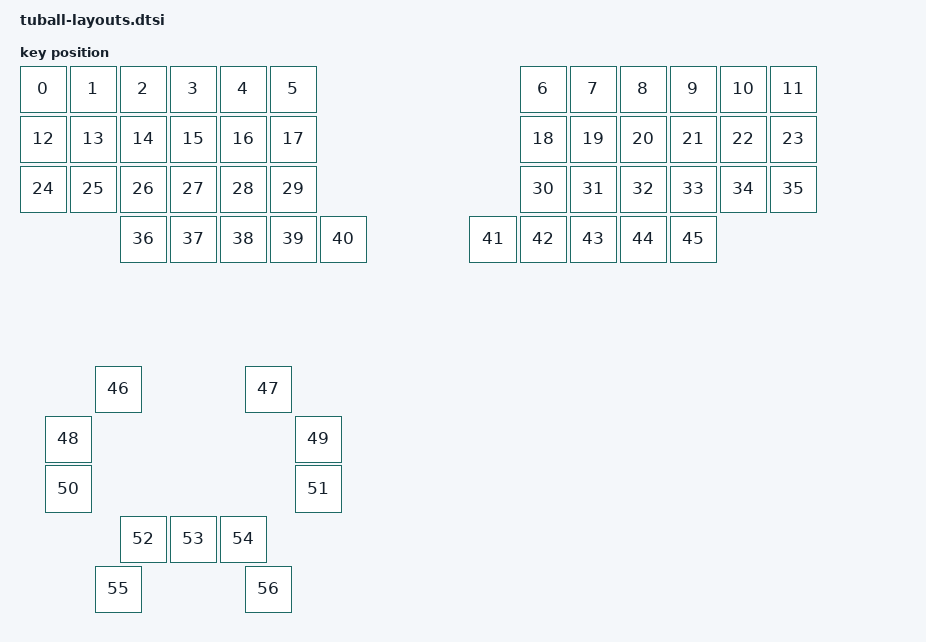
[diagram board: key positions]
#include <physical_layouts.dtsi>

/ {
    physical_layout0: physical_layout_0 {
        compatible = "zmk,physical-layout";
        transform = <&default_transform>;
        display-name = "Base";

        keys= <&key_physical_attrs 100 100    0    0       0     0     0>
            , <&key_physical_attrs 100 100  100    0       0     0     0>
            , <&key_physical_attrs 100 100  200    0       0     0     0>
            , <&key_physical_attrs 100 100  300    0       0     0     0>
            , <&key_physical_attrs 100 100  400    0       0     0     0>
            , <&key_physical_attrs 100 100  500    0       0     0     0>
            , <&key_physical_attrs 100 100 1000    0       0     0     0>
            , <&key_physical_attrs 100 100 1100    0       0     0     0>
            , <&key_physical_attrs 100 100 1200    0       0     0     0>
            , <&key_physical_attrs 100 100 1300    0       0     0     0>
            , <&key_physical_attrs 100 100 1400    0       0     0     0>
            , <&key_physical_attrs 100 100 1500    0       0     0     0>
            // ASDFG
            , <&key_physical_attrs 100 100    0  100       0     0     0>
            , <&key_physical_attrs 100 100  100  100       0     0     0>
            , <&key_physical_attrs 100 100  200  100       0     0     0>
            , <&key_physical_attrs 100 100  300  100       0     0     0>
            , <&key_physical_attrs 100 100  400  100       0     0     0>
            , <&key_physical_attrs 100 100  500  100       0     0     0>
            , <&key_physical_attrs 100 100 1000  100       0     0     0>
            , <&key_physical_attrs 100 100 1100  100       0     0     0>
            , <&key_physical_attrs 100 100 1200  100       0     0     0>
            , <&key_physical_attrs 100 100 1300  100       0     0     0>
            , <&key_physical_attrs 100 100 1400  100       0     0     0>
            , <&key_physical_attrs 100 100 1500  100       0     0     0>
	    // ZXCVB
            , <&key_physical_attrs 100 100    0  200       0     0     0>
            , <&key_physical_attrs 100 100  100  200       0     0     0>
            , <&key_physical_attrs 100 100  200  200       0     0     0>
            , <&key_physical_attrs 100 100  300  200       0     0     0>
            , <&key_physical_attrs 100 100  400  200       0     0     0>
            , <&key_physical_attrs 100 100  500  200       0     0     0>
            , <&key_physical_attrs 100 100 1000  200       0     0     0>
            , <&key_physical_attrs 100 100 1100  200       0     0     0>
            , <&key_physical_attrs 100 100 1200  200       0     0     0>
            , <&key_physical_attrs 100 100 1300  200       0     0     0>
            , <&key_physical_attrs 100 100 1400  200       0     0     0>
            , <&key_physical_attrs 100 100 1500  200       0     0     0>
            // Bottom row 
            , <&key_physical_attrs 100 100  200  300       0     0     0>
            , <&key_physical_attrs 100 100  300  300       0     0     0>
            , <&key_physical_attrs 100 100  400  300       0     0     0>
            , <&key_physical_attrs 100 100  500  300       0     0     0>
            , <&key_physical_attrs 100 100  600  300       0     0     0>
            //
            , <&key_physical_attrs 100 100  900  300       0     0     0>
            , <&key_physical_attrs 100 100 1000  300       0     0     0>
            , <&key_physical_attrs 100 100 1100  300       0     0     0>
            , <&key_physical_attrs 100 100 1200  300       0     0     0>
            , <&key_physical_attrs 100 100 1300  300       0     0     0>

	    // Trackball             w   h    x    y     rot    rx    ry
            , <&key_physical_attrs 100 100  150  600       0     0     0>
            , <&key_physical_attrs 100 100  450  600       0     0     0>
            , <&key_physical_attrs 100 100   50  700       0     0     0>
            , <&key_physical_attrs 100 100  550  700       0     0     0>
            , <&key_physical_attrs 100 100   50  800       0     0     0>
            , <&key_physical_attrs 100 100  550  800       0     0     0>
            , <&key_physical_attrs 100 100  200  900       0     0     0>
            , <&key_physical_attrs 100 100  300  900       0     0     0>
            , <&key_physical_attrs 100 100  400  900       0     0     0>
            , <&key_physical_attrs 100 100  150  1000       0     0     0>
            , <&key_physical_attrs 100 100  450  1000       0     0     0>
           ;
    };
};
